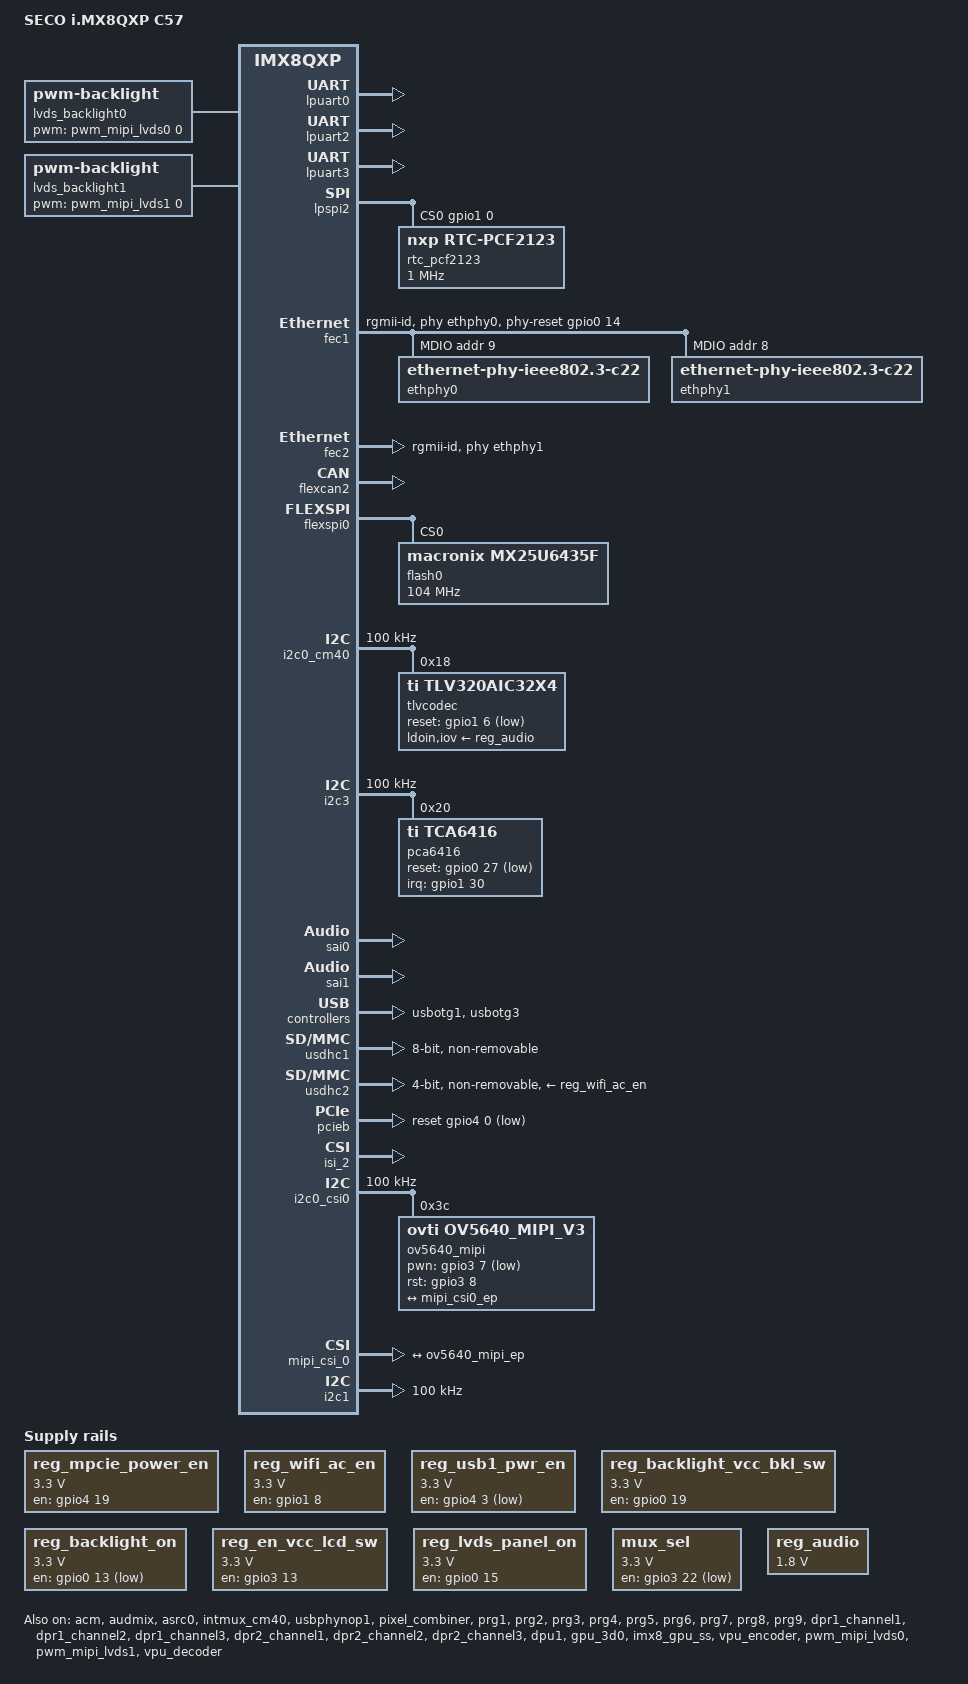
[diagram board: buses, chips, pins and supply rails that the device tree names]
/*
 * Copyright 2017-2018 NXP
 *
 * This program is free software; you can redistribute it and/or
 * modify it under the terms of the GNU General Public License
 * as published by the Free Software Foundation; either version 2
 * of the License, or (at your option) any later version.
 *
 * This program is distributed in the hope that it will be useful,
 * but WITHOUT ANY WARRANTY; without even the implied warranty of
 * MERCHANTABILITY or FITNESS FOR A PARTICULAR PURPOSE.  See the
 * GNU General Public License for more details.
 */

/dts-v1/;

#include <dt-bindings/usb/pd.h>
#include "dt-bindings/net/ti-dp83867.h"
#include "seco-imx8dx.dtsi"

/ {
	model = "SECO i.MX8QXP C57";
	compatible = "fsl,imx8qxp-mek","seco,imx8qxp-c57","fsl,imx8qxp";

	chosen {
		bootargs = "console=ttyLP2,115200 earlycon=lpuart32,0x5a080000,115200";
		stdout-path = &lpuart2;
	};

	aliases {
		csi0 = &mipi_csi_0;
		dpu0 = &dpu1;
		ethernet0 = &fec1;
		ethernet1 = &fec2;
		dsi_phy0 = &mipi_dsi_phy1;
		dsi_phy1 = &mipi_dsi_phy2;
		mipi_dsi0 = &mipi_dsi1;
		mipi_dsi1 = &mipi_dsi2;
		ldb0 = &ldb1;
		ldb1 = &ldb2;
		isi0 = &isi_0;
		isi1 = &isi_1;
		isi2 = &isi_2;
		isi3 = &isi_3;
		isi4 = &isi_4;
		isi5 = &isi_5;
		isi6 = &isi_6;
		isi7 = &isi_7;
		serial0 = &lpuart0;
		serial1 = &lpuart1;
		serial2 = &lpuart2;
		serial3 = &lpuart3;
		mmc0 = &usdhc1;
		mmc1 = &usdhc2;
		mmc2 = &usdhc3;
		can0 = &flexcan1;
		can1 = &flexcan2;
		can2 = &flexcan3;
		i2c1 = &i2c1;
		i2c3 = &i2c3;
		i2c4 = &i2c0_cm40;
		i2c5 = &i2c0_mipi_lvds0;
		i2c6 = &i2c0_mipi_lvds1;
	};


	cpus {
		A35_2: cpu@2 {
			device_type = "cpu";
			compatible = "arm,cortex-a35";
			reg = <0x0 0x2>;
			enable-method = "psci";
			next-level-cache = <&A35_L2>;
		};

		A35_3: cpu@3 {
			device_type = "cpu";
			compatible = "arm,cortex-a35";
			reg = <0x0 0x3>;
			enable-method = "psci";
			next-level-cache = <&A35_L2>;
		};
	};

	vpu_decoder: vpu_decoder@2c000000 {
		compatible = "nxp,imx8qm-b0-vpudec", "nxp,imx8qxp-b0-vpudec";
		boot-region = <&decoder_boot>;
		rpc-region = <&decoder_rpc>;
		reg = <0x0 0x2c000000 0x0 0x1000000>;
		reg-names = "vpu_regs";
		clocks = <&clk IMX8QXP_VPU_DEC_CLK>;
		clock-names = "vpu_clk";
		assigned-clocks = <&clk IMX8QXP_VPU_DEC_CLK>;
		power-domains = <&pd_vpu_dec>;
		status = "disabled";
	};

	pmu {
		interrupt-affinity = <&A35_0>, <&A35_1>, <&A35_2>, <&A35_3>;
	};

	mu_seco2: mu@31560000 {
		status = "okay";
	};

	mu_seco3: mu@31570000 {
		status = "okay";
	};

	mu_seco4: mu@31580000 {
		status = "okay";
	};

	brcmfmac: brcmfmac {
		compatible = "cypress,brcmfmac";
		pinctrl-names = "init", "idle", "default";
		pinctrl-0 = <&pinctrl_wifi_init>;
		pinctrl-1 = <&pinctrl_wifi_init>;
		pinctrl-2 = <&pinctrl_wifi>;
	};

	regulators {
		compatible = "simple-bus";
		#address-cells = <1>;
		#size-cells = <0>;

		/*cn15 connector*/
		reg_en_bckl1_drv: en_bckl_drv {
						status = "disabled";
                        compatible = "regulator-fixed";
                        regulator-name = "EN_BCKL_DRV";
                        regulator-min-microvolt = <3300000>;
						regulator-max-microvolt = <3300000>;
                        gpio = <&gpio3 1 GPIO_ACTIVE_HIGH>;
                        enable-active-high;
						// startup-delay-us = <40000>;\
						regulator-boot-on;
                        regulator-always-on;
                };

		reg_mpcie_power_en: mpcie_power_en {
                        compatible = "regulator-fixed";
                        regulator-name = "MPCIE_POWER_EN";
                        regulator-min-microvolt = <3300000>;
						regulator-max-microvolt = <3300000>;
                        gpio = <&gpio4 19 GPIO_ACTIVE_HIGH>;
                        enable-active-high;
						// startup-delay-us = <40000>;\
						regulator-boot-on;
                        regulator-always-on;
                };

		reg_wifi_ac_en: reg_wifiacen {
                        compatible = "regulator-fixed";
                        regulator-name = "WIFI_AC_EN";
                        regulator-min-microvolt = <3300000>;
						regulator-max-microvolt = <3300000>;
                        gpio = <&gpio1 8 GPIO_ACTIVE_HIGH>;
                        enable-active-high;
						startup-delay-us = <1000>;
                };


		reg_usb1_pwr_en: usb1_pwr_en {
                        compatible = "regulator-fixed";
                        regulator-name = "usb1_pwr_en";
                        regulator-min-microvolt = <3300000>;
                        regulator-max-microvolt = <3300000>;
                        gpio = <&gpio4 3 GPIO_ACTIVE_LOW>;
						enable-active-down;
                        regulator-boot-on;
                        regulator-always-on;
		};


		reg_backlight_vcc_bkl_sw: backlight_vcc_bkl_sw {
                        compatible = "regulator-fixed";
                        regulator-name = "backlight_vcc_bkl_sw";
                        regulator-min-microvolt = <3300000>;
                        regulator-max-microvolt = <3300000>;
                        gpio = <&gpio0 19 GPIO_ACTIVE_HIGH>;
                        enable-active-high;
                        regulator-boot-on;
                        regulator-always-on;
                };

		
		reg_backlight_on: reg_backlight_on {
                        compatible = "regulator-fixed";
                        regulator-name = "BACKLIGHT_ON";
                        regulator-min-microvolt = <3300000>;
                        regulator-max-microvolt = <3300000>;
                        gpio = <&gpio0 13 GPIO_ACTIVE_LOW>;
                        enable-active-low;
                        regulator-boot-on;
                        regulator-always-on;
                };
		
		reg_en_vcc_lcd_sw: reg_en_vcc_lcd_sw {
                        compatible = "regulator-fixed";
                        regulator-name = "EN_VCC_LCD_SW";
                        regulator-min-microvolt = <3300000>;
                        regulator-max-microvolt = <3300000>;
                        gpio = <&gpio3 13 GPIO_ACTIVE_HIGH>;
                        enable-active-high;
                        regulator-boot-on;
                        regulator-always-on;
                };

		reg_lvds_panel_on: lvds_panel_on {
                        compatible = "regulator-fixed";
                        regulator-name = "LVDS_PANEL_ON";
                        regulator-min-microvolt = <3300000>;
                        regulator-max-microvolt = <3300000>;
                        gpio = <&gpio0 15 GPIO_ACTIVE_LOW>;
                        enable-active-high;
                        regulator-always-on;
                };
		mux_sel: mux_sel {
                        compatible = "regulator-fixed";
                        regulator-name = "MUX_SEL";
                        regulator-min-microvolt = <3300000>;
                        regulator-max-microvolt = <3300000>;
                        gpio = <&gpio3 22 GPIO_ACTIVE_LOW>;
                        enable-active-down;
                        regulator-always-on;
                };

		reg_audio: regulator-soc-audio {
                        compatible = "regulator-fixed";
                        regulator-name = "tlv320aic32x4_supply";
                        regulator-min-microvolt = <1800000>;
                        regulator-max-microvolt = <1800000>;
                        regulator-always-on;
                };

		};

	sound {
		status = "okay";
		compatible = "seco,asoc-tlv320";
		model = "seco_tlv320";
		cpu-dai = <&sai1>;
		audio-codec = <&tlvcodec>;
		enable-mic-bias;	
	};


	lvds_backlight0 {
		compatible = "pwm-backlight";
		pwms = <&pwm_mipi_lvds0 0 100000 0>;

		brightness-levels = < 0  1  2  3  4  5  6  7  8  9
				     10 11 12 13 14 15 16 17 18 19
				     20 21 22 23 24 25 26 27 28 29
				     30 31 32 33 34 35 36 37 38 39
				     40 41 42 43 44 45 46 47 48 49
				     50 51 52 53 54 55 56 57 58 59
				     60 61 62 63 64 65 66 67 68 69
				     70 71 72 73 74 75 76 77 78 79
				     80 81 82 83 84 85 86 87 88 89
				     90 91 92 93 94 95 96 97 98 99
				    100>;
		default-brightness-level = <5>;
	};


	lvds_backlight1 {
		compatible = "pwm-backlight";
		pwms = <&pwm_mipi_lvds1 0 100000 0>;

		brightness-levels = < 0  1  2  3  4  5  6  7  8  9
				     10 11 12 13 14 15 16 17 18 19
				     20 21 22 23 24 25 26 27 28 29
				     30 31 32 33 34 35 36 37 38 39
				     40 41 42 43 44 45 46 47 48 49
				     50 51 52 53 54 55 56 57 58 59
				     60 61 62 63 64 65 66 67 68 69
				     70 71 72 73 74 75 76 77 78 79
				     80 81 82 83 84 85 86 87 88 89
				     90 91 92 93 94 95 96 97 98 99
				    100>;
		default-brightness-level = <5>;
	};

	panel: edp_panel {
                        status = "disabled";
                        compatible = "innolux,n140hca";
                        #address-cells = <1>;
                        #size-cells = <0>;

                        port@0 {
                        reg = <0>;
                        panel_in: endpoint {
                            remote-endpoint = <&bridge_to_panel>;
                        };
                    };
                };

	lcdif_backlight: lcdif_backlight {
		compatible = "pwm-backlight";
		pwms = <&pwm_adma_lcdif 0 100000 0>;

		brightness-levels = <0 4 8 16 32 64 128 255>;
		default-brightness-level = <6>;
		status = "disabled";
	};

};

&acm {
	status = "okay";
};

&audmix {
	status = "okay";
};

&asrc0 {
	fsl,asrc-rate  = <48000>;
	status = "okay";
};

&iomuxc {
	pinctrl-names = "default";
	pinctrl-0 = <&pinctrl_hog>;

	imx8qxp-mek {
		pinctrl_hog: hoggrp {
			fsl,pins = <
				SC_P_COMP_CTL_GPIO_1V8_3V3_GPIORHB_PAD	0x000514a0

				/*BACKLIGHT on*/
				SC_P_MCLK_IN0_LSIO_GPIO0_IO19     0x00000021
				SC_P_SPI3_SCK_LSIO_GPIO0_IO13     0x00000021
				SC_P_QSPI0A_DQS_LSIO_GPIO3_IO13   0x00000021
				/*LVDS PANEL ON*/
				SC_P_SPI3_SDI_LSIO_GPIO0_IO15 	  0x00000021
				/*MUX_SEL LVDS*/
				SC_P_QSPI0B_DQS_LSIO_GPIO3_IO22	  0x00000021
				/*RST HUB*/
				SC_P_QSPI0B_SCLK_LSIO_GPIO3_IO17  0x00000021
				SC_P_USB_SS3_TC0_LSIO_GPIO4_IO03  0x00000021
				/*RST ENET GPIO0_IO14*/
				SC_P_SPI3_SDO_LSIO_GPIO0_IO14  0x00000041
				
				/*WLAN UART MUXED AS GPIO*/
				SC_P_UART1_TX_LSIO_GPIO0_IO21		0x00000021
				SC_P_UART1_RX_LSIO_GPIO0_IO22		0x00000021
				SC_P_SPI0_SCK_LSIO_GPIO1_IO04		0x00000021
				SC_P_UART1_CTS_B_LSIO_GPIO0_IO24	0x00000021

				/*EDP EN*/
				SC_P_MIPI_DSI1_GPIO0_01_LSIO_GPIO2_IO00 0x00000021

				/*MPCIE_POWER_EN*/
				SC_P_USDHC1_RESET_B_LSIO_GPIO4_IO19 	0x00000021

				/*EN_BCKL_DRV*/
				SC_P_CSI_MCLK_LSIO_GPIO3_IO01	0x00000021

				/*TRRS_PLUG_DETECT (JACK AUDIO)*/
				SC_P_SPDIF0_EXT_CLK_LSIO_GPIO0_IO12 0x00000021

				/*RS-485_DIR*/
				SC_P_USDHC1_CD_B_LSIO_GPIO4_IO22 	0x00000021

				/*QSPI0B_GPIO*/
				SC_P_QSPI0A_SS1_B_LSIO_GPIO3_IO15	0x00000021			
				SC_P_QSPI0B_DATA0_LSIO_GPIO3_IO18	0x00000021
				SC_P_QSPI0B_DATA1_LSIO_GPIO3_IO19	0x00000021
				SC_P_QSPI0B_DATA2_LSIO_GPIO3_IO20	0x00000021
				SC_P_QSPI0B_DATA3_LSIO_GPIO3_IO21	0x00000021
				SC_P_QSPI0B_SS0_B_LSIO_GPIO3_IO23	0x00000021
				SC_P_QSPI0B_SS1_B_LSIO_GPIO3_IO24	0x00000021

				/*CN25 I/O*/
				SC_P_CSI_PCLK_LSIO_GPIO3_IO00		0x00000021
				SC_P_ADC_IN4_LSIO_GPIO1_IO14		0x00000021
				SC_P_ADC_IN5_LSIO_GPIO1_IO13		0x00000021

				/*UART0 CTS/RTS*/
				SC_P_FLEXCAN0_RX_ADMA_UART0_RTS_B	0x16000020
				SC_P_FLEXCAN0_TX_ADMA_UART0_CTS_B	0x16000020
			>;
		};

		pinctrl_codec: codecgrp {
			fsl,pins = <
		               	SC_P_SPI0_SDO_LSIO_GPIO1_IO06	  0x00000021 
			>;
		};

		pinctrl_csi0_lpi2c0: csi0lpi2c0grp {
			fsl,pins = <
				SC_P_MIPI_CSI0_I2C0_SCL_MIPI_CSI0_I2C0_SCL	0xc2000020
				SC_P_MIPI_CSI0_I2C0_SDA_MIPI_CSI0_I2C0_SDA	0xc2000020
			>;
		};

		pinctrl_mipi_csi0: mipicsi0grp {
			fsl,pins = <
				SC_P_MIPI_CSI0_MCLK_OUT_MIPI_CSI0_ACM_MCLK_OUT	0xC0000041
				SC_P_MIPI_CSI0_GPIO0_00_LSIO_GPIO3_IO08			0x00000021
				SC_P_MIPI_CSI0_GPIO0_01_LSIO_GPIO3_IO07			0x00000021
			>;
		};

		pinctrl_lpuart0: lpuart0grp {
			fsl,pins = <
				SC_P_UART0_RX_ADMA_UART0_RX	0x06000020
				SC_P_UART0_TX_ADMA_UART0_TX	0x06000020
			>;
		};


		pinctrl_lpuart2: lpuart2grp {
			fsl,pins = <
				SC_P_UART2_TX_ADMA_UART2_TX	0x06000020
				SC_P_UART2_RX_ADMA_UART2_RX	0x06000020
			>;
		};

		pinctrl_lpuart3: lpuart3grp {
			fsl,pins = <
				SC_P_FLEXCAN2_TX_ADMA_UART3_TX	0x06000020
				SC_P_FLEXCAN2_RX_ADMA_UART3_RX	0x06000020
			>;
		};

		pinctrl_fec1: fec1grp {
			fsl,pins = <
				SC_P_COMP_CTL_GPIO_1V8_3V3_ENET_ENETB0_PAD	0x000014a0
				SC_P_COMP_CTL_GPIO_1V8_3V3_ENET_ENETB1_PAD	0x000014a0
				SC_P_ENET0_MDC_CONN_ENET0_MDC			0x06000020
				SC_P_ENET0_MDIO_CONN_ENET0_MDIO			0x06000020
				SC_P_ENET0_RGMII_TX_CTL_CONN_ENET0_RGMII_TX_CTL	0x00000061
				SC_P_ENET0_RGMII_TXC_CONN_ENET0_RGMII_TXC	0x00000061
				SC_P_ENET0_RGMII_TXD0_CONN_ENET0_RGMII_TXD0	0x00000061
				SC_P_ENET0_RGMII_TXD1_CONN_ENET0_RGMII_TXD1	0x00000061
				SC_P_ENET0_RGMII_TXD2_CONN_ENET0_RGMII_TXD2	0x00000061
				SC_P_ENET0_RGMII_TXD3_CONN_ENET0_RGMII_TXD3	0x00000061
				SC_P_ENET0_RGMII_RXC_CONN_ENET0_RGMII_RXC	0x00000061
				SC_P_ENET0_RGMII_RX_CTL_CONN_ENET0_RGMII_RX_CTL	0x00000061
				SC_P_ENET0_RGMII_RXD0_CONN_ENET0_RGMII_RXD0	0x00000061
				SC_P_ENET0_RGMII_RXD1_CONN_ENET0_RGMII_RXD1	0x00000061
				SC_P_ENET0_RGMII_RXD2_CONN_ENET0_RGMII_RXD2	0x00000061
				SC_P_ENET0_RGMII_RXD3_CONN_ENET0_RGMII_RXD3	0x00000061
			>;
		};

		pinctrl_fec2: fec2grp {
			fsl,pins = <
				SC_P_ESAI0_SCKR_CONN_ENET1_RGMII_TX_CTL		0x00000060
				SC_P_ESAI0_FSR_CONN_ENET1_RGMII_TXC		0x00000060
				SC_P_ESAI0_TX4_RX1_CONN_ENET1_RGMII_TXD0	0x00000060
				SC_P_ESAI0_TX5_RX0_CONN_ENET1_RGMII_TXD1	0x00000060
				SC_P_ESAI0_FST_CONN_ENET1_RGMII_TXD2		0x00000060
				SC_P_ESAI0_SCKT_CONN_ENET1_RGMII_TXD3		0x00000060
				SC_P_ESAI0_TX0_CONN_ENET1_RGMII_RXC		0x00000060
				SC_P_SPDIF0_TX_CONN_ENET1_RGMII_RX_CTL		0x00000060
				SC_P_SPDIF0_RX_CONN_ENET1_RGMII_RXD0		0x00000060
				SC_P_ESAI0_TX3_RX2_CONN_ENET1_RGMII_RXD1	0x00000060
				SC_P_ESAI0_TX2_RX3_CONN_ENET1_RGMII_RXD2	0x00000060
				SC_P_ESAI0_TX1_CONN_ENET1_RGMII_RXD3		0x00000060
			>;
		};

			pinctrl_flexcan2: flexcan2grp {
			fsl,pins = <
				SC_P_FLEXCAN1_TX_ADMA_FLEXCAN1_TX		0x21
				SC_P_FLEXCAN1_RX_ADMA_FLEXCAN1_RX		0x21
			>;
		};

		

		pinctrl_qspi0: qspi0grp {
			fsl,pins = <
				SC_P_QSPI0A_SS0_B_LSIO_QSPI0A_SS0_B	0xc6000020
				SC_P_QSPI0A_SCLK_LSIO_QSPI0A_SCLK	0xc6000020
				SC_P_QSPI0A_DATA0_LSIO_QSPI0A_DATA0	0xc6000020
				SC_P_QSPI0A_DATA1_LSIO_QSPI0A_DATA1	0xc6000020
				SC_P_QSPI0A_DATA2_LSIO_QSPI0A_DATA2	0xc6000020
				SC_P_QSPI0A_DATA3_LSIO_QSPI0A_DATA3	0xc6000020
			>;
		};

		pinctrl_cm40_i2c: cm40i2cgrp {
			fsl,pins = <
				SC_P_ADC_IN1_M40_I2C0_SDA	0x0600004c
				SC_P_ADC_IN0_M40_I2C0_SCL	0x0600004c
			>;
		};

		pinctrl_lpi2c3: lpi2cgrp {
			fsl,pins = <
				SC_P_SPI3_CS1_ADMA_I2C3_SCL	0x0600004c
				SC_P_MCLK_IN1_ADMA_I2C3_SDA	0x0600004c
			>;
		};

		pinctrl_ioexp_grp: ioexp_rst_grp {
			fsl,pins = <
				SC_P_MIPI_DSI1_I2C0_SDA_LSIO_GPIO1_IO30 0x00000021
				SC_P_SAI0_RXD_LSIO_GPIO0_IO27	0x00000021
			>;
		};

		pinctrl_pwm_mipi_lvds0: mipi_lvds0_pwm_grp {
			fsl,pins = <
				SC_P_MIPI_DSI0_GPIO0_00_MIPI_DSI0_PWM0_OUT	0x00000020
			>;
		};

		pinctrl_pwm_mipi_lvds1: mipi_lvds1_pwm_grp {
			fsl,pins = <
				SC_P_MIPI_DSI1_GPIO0_00_MIPI_DSI1_PWM0_OUT	0x00000020
			>;
		};

		pinctrl_i2c0_mipi_lvds0: mipi_lvds0_i2c0_grp {
			fsl,pins = <
				SC_P_MIPI_DSI0_I2C0_SCL_MIPI_DSI0_I2C0_SCL	0xc6000020
				SC_P_MIPI_DSI0_I2C0_SDA_MIPI_DSI0_I2C0_SDA	0xc6000020
				SC_P_MIPI_DSI0_GPIO0_01_LSIO_GPIO1_IO28		0x00000020
			>;
		};

		pinctrl_isl29023: isl29023grp {
			fsl,pins = <
				SC_P_SPI2_SDI_LSIO_GPIO1_IO02	0x00000021
			>;
		};

		pinctrl_lpi2c1: lpi1cgrp {
			fsl,pins = <
				SC_P_USB_SS3_TC1_ADMA_I2C1_SCL	0x06000021
				SC_P_USB_SS3_TC3_ADMA_I2C1_SDA	0x06000021
			>;
		};

		pinctrl_sai0: sai0_grp {
			fsl,pins = <
				/*SAI BLUETOOTH*/
				SC_P_CSI_D00_ADMA_SAI0_RXC				0xc6000040
				SC_P_SAI0_TXC_ADMA_SAI0_TXC				0xc6000040
				SC_P_CSI_D01_ADMA_SAI0_RXD				0xc6000040
				SC_P_SAI0_TXD_ADMA_SAI0_TXD				0xc6000060
				SC_P_CSI_D02_ADMA_SAI0_RXFS				0xc6000040
				SC_P_SAI0_TXFS_ADMA_SAI0_TXFS			0xc6000040
		 	>;
		};

		pinctrl_sai1: sai1grp {
			fsl,pins = <
				SC_P_SAI1_RXD_ADMA_SAI1_RXD			0x06000040
				SC_P_SAI1_RXC_ADMA_SAI1_TXC			0x06000040
				SC_P_SAI1_RXFS_ADMA_SAI1_TXFS		0x06000040
				SC_P_SPI0_CS1_ADMA_SAI1_TXD			0x06000040
				SC_P_MCLK_OUT0_ADMA_ACM_MCLK_OUT0	0x06000040		
			>;
		};

		pinctrl_usdhc1: usdhc1grp {
			fsl,pins = <
				SC_P_EMMC0_CLK_CONN_EMMC0_CLK		0x06000041
				SC_P_EMMC0_CMD_CONN_EMMC0_CMD		0x00000021
				SC_P_EMMC0_DATA0_CONN_EMMC0_DATA0	0x00000021
				SC_P_EMMC0_DATA1_CONN_EMMC0_DATA1	0x00000021
				SC_P_EMMC0_DATA2_CONN_EMMC0_DATA2	0x00000021
				SC_P_EMMC0_DATA3_CONN_EMMC0_DATA3	0x00000021
				SC_P_EMMC0_DATA4_CONN_EMMC0_DATA4	0x00000021
				SC_P_EMMC0_DATA5_CONN_EMMC0_DATA5	0x00000021
				SC_P_EMMC0_DATA6_CONN_EMMC0_DATA6	0x00000021
				SC_P_EMMC0_DATA7_CONN_EMMC0_DATA7	0x00000021
				SC_P_EMMC0_STROBE_CONN_EMMC0_STROBE	0x00000041
			>;
		};

		pinctrl_spi2: spi2grp {
			fsl,pins = <
				SC_P_SPI2_SCK_ADMA_SPI2_SCK		0x0600004c
				SC_P_SPI2_SDO_ADMA_SPI2_SDO		0x0600004c
				SC_P_SPI2_SDI_ADMA_SPI2_SDI		0x0600004c
				/*PCF2123 CS*/
				SC_P_SPI2_CS0_LSIO_GPIO1_IO00	0x00000021 
			>;
		};


		pinctrl_usdhc1_100mhz: usdhc1grp100mhz {
			fsl,pins = <
				SC_P_EMMC0_CLK_CONN_EMMC0_CLK		0x06000041
				SC_P_EMMC0_CMD_CONN_EMMC0_CMD		0x00000021
				SC_P_EMMC0_DATA0_CONN_EMMC0_DATA0	0x00000021
				SC_P_EMMC0_DATA1_CONN_EMMC0_DATA1	0x00000021
				SC_P_EMMC0_DATA2_CONN_EMMC0_DATA2	0x00000021
				SC_P_EMMC0_DATA3_CONN_EMMC0_DATA3	0x00000021
				SC_P_EMMC0_DATA4_CONN_EMMC0_DATA4	0x00000021
				SC_P_EMMC0_DATA5_CONN_EMMC0_DATA5	0x00000021
				SC_P_EMMC0_DATA6_CONN_EMMC0_DATA6	0x00000021
				SC_P_EMMC0_DATA7_CONN_EMMC0_DATA7	0x00000021
				SC_P_EMMC0_STROBE_CONN_EMMC0_STROBE	0x00000041
			>;
		};

		pinctrl_usdhc1_200mhz: usdhc1grp200mhz {
			fsl,pins = <
				SC_P_EMMC0_CLK_CONN_EMMC0_CLK		0x06000041
				SC_P_EMMC0_CMD_CONN_EMMC0_CMD		0x00000021
				SC_P_EMMC0_DATA0_CONN_EMMC0_DATA0	0x00000021
				SC_P_EMMC0_DATA1_CONN_EMMC0_DATA1	0x00000021
				SC_P_EMMC0_DATA2_CONN_EMMC0_DATA2	0x00000021
				SC_P_EMMC0_DATA3_CONN_EMMC0_DATA3	0x00000021
				SC_P_EMMC0_DATA4_CONN_EMMC0_DATA4	0x00000021
				SC_P_EMMC0_DATA5_CONN_EMMC0_DATA5	0x00000021
				SC_P_EMMC0_DATA6_CONN_EMMC0_DATA6	0x00000021
				SC_P_EMMC0_DATA7_CONN_EMMC0_DATA7	0x00000021
				SC_P_EMMC0_STROBE_CONN_EMMC0_STROBE	0x00000041
			>;
		};


		pinctrl_usdhc2: usdhc2grp {
			fsl,pins = <
				SC_P_USDHC1_CLK_CONN_USDHC1_CLK		0x06000040
				SC_P_USDHC1_CMD_CONN_USDHC1_CMD		0x00000020
				SC_P_USDHC1_DATA0_CONN_USDHC1_DATA0	0x00000020
				SC_P_USDHC1_DATA1_CONN_USDHC1_DATA1	0x00000020
				SC_P_USDHC1_DATA2_CONN_USDHC1_DATA2	0x00000020
				SC_P_USDHC1_DATA3_CONN_USDHC1_DATA3	0x00000020
			>;
		};

		pinctrl_usdhc2_100mhz: usdhc2grp100mhz {
			fsl,pins = <
				SC_P_USDHC1_CLK_CONN_USDHC1_CLK		0x06000040
				SC_P_USDHC1_CMD_CONN_USDHC1_CMD		0x00000020
				SC_P_USDHC1_DATA0_CONN_USDHC1_DATA0	0x00000020
				SC_P_USDHC1_DATA1_CONN_USDHC1_DATA1	0x00000020
				SC_P_USDHC1_DATA2_CONN_USDHC1_DATA2	0x00000020
				SC_P_USDHC1_DATA3_CONN_USDHC1_DATA3	0x00000020
			>;
		};

		pinctrl_usdhc2_200mhz: usdhc2grp200mhz {
			fsl,pins = <
				SC_P_USDHC1_CLK_CONN_USDHC1_CLK		0x06000040
				SC_P_USDHC1_CMD_CONN_USDHC1_CMD		0x00000020
				SC_P_USDHC1_DATA0_CONN_USDHC1_DATA0	0x00000020
				SC_P_USDHC1_DATA1_CONN_USDHC1_DATA1	0x00000020
				SC_P_USDHC1_DATA2_CONN_USDHC1_DATA2	0x00000020
				SC_P_USDHC1_DATA3_CONN_USDHC1_DATA3	0x00000020
			>;
		};

		pinctrl_pcieb: pcieagrp{
			fsl,pins = <
				SC_P_PCIE_CTRL0_PERST_B_LSIO_GPIO4_IO00		0x06000021
				SC_P_PCIE_CTRL0_CLKREQ_B_LSIO_GPIO4_IO01	0x06000021
				SC_P_PCIE_CTRL0_WAKE_B_LSIO_GPIO4_IO02		0x04000021
			>;
		};

		pinctrl_wifi: wifigrp{
			fsl,pins = <
				SC_P_SCU_BOOT_MODE3_SCU_DSC_RTC_CLOCK_OUTPUT_32K	0x20
			>;
		};

		pinctrl_wifi_init: wifi_initgrp{
			fsl,pins = <
				/* reserve pin init/idle_state to support multiple wlan cards */
			>;
		};

		pinctrl_wlan: wlangrp {
			fsl,pins = <
				SC_P_SPI0_CS0_LSIO_GPIO1_IO08 	  0x00000021
			>;
		};

	};
};

&pd_dma_lpuart2 {
	debug_console;
};

&lpuart0 {
	pinctrl-names = "default";
	pinctrl-0 = <&pinctrl_lpuart0>;
	uart-has-rtscts;
	status = "okay";
};


&lpuart2 {
	pinctrl-names = "default";
	pinctrl-0 = <&pinctrl_lpuart2>;
	status = "okay";
};

&lpuart3 {
	pinctrl-names = "default";
	pinctrl-0 = <&pinctrl_lpuart3>;
	status = "okay";
};

&lpspi2 {
	cs-gpios = <&gpio1 0 0>;
    pinctrl-names = "default";
    pinctrl-0 = <&pinctrl_spi2>;
    #address-cells = <1>;
    #size-cells = <0>;
    status = "okay";

        rtc_pcf2123: pcf2123@0 {
                compatible = "nxp,rtc-pcf2123";
                reg = <0>;
                #address-cells = <1>;
                #size-cells = <1>;
                spi-max-frequency = <1000000>;
                spi-cs-high;
                status = "okay";
        };


};

/*Fec shared same reset gpio*/
&fec1 {
	status = "okay";
	pinctrl-names = "default";
	pinctrl-0 = <&pinctrl_fec1>;
	phy-mode = "rgmii-id";
	phy-handle = <&ethphy0>;
	fsl,magic-packet;
	phy-reset-gpios = <&gpio0 14 GPIO_ACTIVE_HIGH>;
	phy-reset-active-high;
    phy-reset-duration = <2>;
	

	mdio {
		#address-cells = <1>;
		#size-cells = <0>;

		ethphy0: ethernet-phy@9 {
			compatible = "ethernet-phy-ieee802.3-c22";
                        reg = <9>;
                        ti,rx-internal-delay = <DP83867_RGMIIDCTL_1_75_NS>;
                        ti,tx-internal-delay = <DP83867_RGMIIDCTL_1_75_NS>;
                        ti,fifo-depth = <DP83867_PHYCR_FIFO_DEPTH_8_B_NIB>;		
						ti,leds-conf = <0xbb58>;
						ti,leds-polarity = <0x444>;

		};

		ethphy1: ethernet-phy@8 {
			compatible = "ethernet-phy-ieee802.3-c22";
                        reg = <8>;
                        ti,rx-internal-delay = <DP83867_RGMIIDCTL_1_75_NS>;
                        ti,tx-internal-delay = <DP83867_RGMIIDCTL_1_75_NS>;
                        ti,fifo-depth = <DP83867_PHYCR_FIFO_DEPTH_8_B_NIB>;		
						ti,leds-conf = <0xbb58>;
						ti,leds-polarity = <0x444>;
		};

	};
};

&fec2 {
	status = "okay";
	pinctrl-names = "default";
	pinctrl-0 = <&pinctrl_fec2>;
	phy-mode = "rgmii-id";
	phy-handle = <&ethphy1>;
	fsl,magic-packet;
};

&flexcan2 {
	pinctrl-names = "default";
	pinctrl-0 = <&pinctrl_flexcan2>;
	status = "okay";
};

&flexspi0 {
	pinctrl-names = "default";
	pinctrl-0 = <&pinctrl_qspi0>;
	status = "okay";

	    flash0{
			reg = <0>;
			#address-cells = <1>;
			#size-cells = <1>;
			compatible = "macronix,mx25u6435f";
			spi-max-frequency = <104000000>;
			spi-nor,quad-read;
		};
};

&intmux_cm40 {
	status = "okay";
};

&i2c0_cm40 {
	#address-cells = <1>;
	#size-cells = <0>;
	clock-frequency = <100000>;
	pinctrl-names = "default";
	pinctrl-0 = <&pinctrl_cm40_i2c>;
	status = "okay";

	tlvcodec: tlv320aic32x4@18 { 
		compatible = "ti,tlv320aic32x4"; 
		reg = <0x18>;
		pinctrl-names = "default";
		pinctrl-0 = <&pinctrl_codec>;
		// MCLK Actually not used, but necessary for initialization
		clocks = <&clk IMX8QXP_AUD_MCLKOUT0>;
		power-domains = <&pd_mclk_out0>;
		ldoin-supply = <&reg_audio>;
		iov-supply = <&reg_audio>;
		reset-gpios = <&gpio1 6 GPIO_ACTIVE_LOW>;
		clock-names = "mclk";
	};


};

&i2c3 {
	#address-cells = <1>;
	#size-cells = <0>;
	clock-frequency = <100000>;
	pinctrl-names = "default";
	pinctrl-0 = <&pinctrl_lpi2c3>;
	status = "okay";

	pca6416: gpio@20 {
		compatible = "ti,tca6416";
		reg = <0x20>;
		pinctrl-names = "default";
		pinctrl-0 = <&pinctrl_ioexp_grp>;
		reset-gpios = <&gpio0 27 GPIO_ACTIVE_LOW>;
		interrupt-parent = <&gpio1>;
		interrupts = <30 IRQ_TYPE_NONE>;
		gpio-controller;
		interrupt-controller;
		#interrupt-cells = <2>;
		#gpio-cells = <2>;
	};
};

&sai0{
	assigned-clocks = <&clk IMX8QXP_AUD_PLL0_DIV>,
			<&clk IMX8QXP_AUD_ACM_AUD_PLL_CLK0_DIV>,
			<&clk IMX8QXP_AUD_ACM_AUD_REC_CLK0_DIV>,
			<&clk IMX8QXP_AUD_SAI_0_MCLK>;
	assigned-clock-rates = <786432000>, <24576000>, <24576000>, <24576000>;
	pinctrl-names = "default";
	pinctrl-0 = <&pinctrl_sai0>;
	status = "okay";
};

&sai1 {
	assigned-clocks = <&clk IMX8QXP_AUD_PLL1_DIV>,
			<&clk IMX8QXP_AUD_ACM_AUD_PLL_CLK1_DIV>,
			<&clk IMX8QXP_AUD_ACM_AUD_REC_CLK1_DIV>,
			<&clk IMX8QXP_AUD_SAI_1_MCLK>;
	assigned-clock-rates = <786432000>, <24576000>, <24576000>, <24576000>;
	pinctrl-names = "default";
	pinctrl-0 = <&pinctrl_sai1>;
	status = "okay";
};

&usbotg1 {
	status = "okay";
};

&usbotg3 {
	status = "okay";
};

&usbphynop1{
	status = "okay";
};

&usbphy1 {
	fsl,tx-d-cal = <114>;
};

&usdhc1 {
	pinctrl-names = "default", "state_100mhz", "state_200mhz";
	pinctrl-0 = <&pinctrl_usdhc1>;
	pinctrl-1 = <&pinctrl_usdhc1_100mhz>;
	pinctrl-2 = <&pinctrl_usdhc1_200mhz>;
	bus-width = <8>;
	non-removable;
	status = "okay";
};

&usdhc2 {
	status = "okay";
	pinctrl-names = "default", "state_100mhz", "state_200mhz";
	pinctrl-0 = <&pinctrl_usdhc2>, <&pinctrl_wlan>;
	pinctrl-1 = <&pinctrl_usdhc2_100mhz>, <&pinctrl_wlan>;
	pinctrl-2 = <&pinctrl_usdhc2_200mhz>, <&pinctrl_wlan>;
	bus-width = <4>;
	non-removable;
	vmmc-supply = <&reg_wifi_ac_en>;
	#address-cells = <1>;
    #size-cells = <0>;


		sd8xxx-wlan {
			status="okay";
			//drvdbg  = <0x37>;
			drv_mode = <0x1>;
			cfg80211_wext = <0xf>;
			sta_name = "wlan";
			wfd_name = "p2p";
			max_vir_bss = <1>;
			cal_data_cfg = "mrvl/cal_data.conf";
			fw_name = "mrvl/sd8997_combo_v4.bin";
			reg_alpha2 = "US";
			p2p_enh = <1>;
			auto_ds=<0>;
			inact_tmo = <3000>;
			gtk_rekey_offload = <1>;
			cfg80211_drcs = <0>;
		};
};

&pcieb{
	ext_osc = <3>;
	pinctrl-names = "default";
	pinctrl-0 = <&pinctrl_pcieb>;
	clkreq-gpio = <&gpio4 1 GPIO_ACTIVE_LOW>;
	reset-gpio = <&gpio4 0 GPIO_ACTIVE_LOW>;
	status = "okay";
};

&pixel_combiner {
	status = "okay";
};

&prg1 {
	status = "okay";
};

&prg2 {
	status = "okay";
};

&prg3 {
	status = "okay";
};

&prg4 {
	status = "okay";
};

&prg5 {
	status = "okay";
};

&prg6 {
	status = "okay";
};

&prg7 {
	status = "okay";
};

&prg8 {
	status = "okay";
};

&prg9 {
	status = "okay";
};

&dpr1_channel1 {
	status = "okay";
};

&dpr1_channel2 {
	status = "okay";
};

&dpr1_channel3 {
	status = "okay";
};

&dpr2_channel1 {
	status = "okay";
};

&dpr2_channel2 {
	status = "okay";
};

&dpr2_channel3 {
	status = "okay";
};

&dpu1 {
	status = "okay";
};

&gpu_3d0 {
	status = "okay";
};

&imx8_gpu_ss {
	status = "okay";
};

&isi_0 {
	status = "disabled";
};

&isi_1 {
	status = "disabled";
};

&isi_2 {
	interface = <2 0 2>;
	status = "okay";
};

&isi_3 {
	status = "disabled";
};

&isi_4 {
	status = "disabled";
};

&isi_5 {
	status = "disabled";
};

&isi_6 {
	status = "disabled";
};

&isi_7 {
	status = "disabled";
};

&i2c0_csi0 {
	#address-cells = <1>;
	#size-cells = <0>;
	pinctrl-names = "default";
	pinctrl-0 = <&pinctrl_csi0_lpi2c0>;
	clock-frequency = <100000>;
	status = "okay";

	ov5640_mipi: ov5640_mipi@3c {
		compatible = "ovti,ov5640_mipi_v3";
		reg = <0x3c>;
		pinctrl-names = "default";
		pinctrl-0 = <&pinctrl_mipi_csi0>;
		clocks = <&clk IMX8QXP_24MHZ>;
		clock-names = "csi_mclk";
		csi_id = <0>;
		pwn-gpios = <&gpio3 7 GPIO_ACTIVE_LOW>;
		rst-gpios = <&gpio3 8 GPIO_ACTIVE_HIGH>;
		mclk = <24000000>;
		mclk_source = <0>;
		mipi_csi;
		status = "okay";
		port {
			ov5640_mipi_ep: endpoint {
				remote-endpoint = <&mipi_csi0_ep>;
			};
		};
	};
};

&mipi_csi_0 {
	#address-cells = <1>;
	#size-cells = <0>;
	status = "okay";
	/delete-property/virtual-channel;

	/* Camera 0  MIPI CSI-2 (CSIS0) */
	port@0 {
		reg = <0>;
		mipi_csi0_ep: endpoint {
			remote-endpoint = <&ov5640_mipi_ep>;
			data-lanes = <1 2>;
		};
	};
};


&i2c1{
	#address-cells = <1>;
	#size-cells = <0>;
	pinctrl-names = "default";
	pinctrl-0 = <&pinctrl_lpi2c1>;
	clock-frequency = <100000>;
	status = "okay";
};

&vpu {
	status = "disabled";
};

&vpu_decoder {
	core_type = <1>;
	status = "okay";
};

&vpu_encoder {
	status = "okay";
};


/* DSI/LVDS port 0 */
&i2c0_mipi_lvds0 {
	#address-cells = <1>;
	#size-cells = <0>;
	pinctrl-names = "default";
	pinctrl-0 = <&pinctrl_i2c0_mipi_lvds0>;
	clock-frequency = <100000>;
	status = "disabled";

    edp_bridge: sn65dsi86@2c {
            status = "disable";
            compatible = "ti,sn65dsi86";
			adi,dsi-lanes = <4>;
	        #address-cells = <1>;
	        #size-cells = <0>;
            reg = <0x2c>;
			pd-gpios = <&gpio2 0 GPIO_ACTIVE_HIGH>, <&gpio3 22 GPIO_ACTIVE_HIGH>;
			clocks = <&osc_27m>;
			

            port@0 {
                reg = <0>;
				bridge_to_mipi: endpoint {
                    remote-endpoint = <&mipi_dsi_bridge1_out>;
                };
            };

            port@1 {
                reg = <1>;
                bridge_to_panel: endpoint {
                    remote-endpoint = <&panel_in>;
                };
            };

	};	

};



&ldb1_phy {
	status = "disabled";
};

&ldb1 {
	status = "disabled";
	

	lvds-channel@1 {
		reg = <1>;
		status = "disabled";
		};


	lvds0: lvds-channel@0 {
		#address-cells = <1>;
		#size-cells = <0>;
		fsl,data-mapping = "jeida";
		fsl,data-width = <24>;
		status = "disabled";

		display-timings {
			native-mode = <&lvds0_timing0>;

			lvds0_timing0: 800x600 {
				clock-frequency = <65000000>;
				hactive = <800>;
				vactive = <600>;
				hback-porch = <220>;
				hsync-len = <60>;
				hfront-porch = <40>;
				vback-porch = <21>;
				vsync-len = <10>;
				vfront-porch = <7>;
				hsync-active = <0>;
				vsync-active = <0>;
				de-active = <1>;
				pixelclk-active = <1>;
			};
		};
	};
};

&mipi_dsi_phy1 {
	status = "disabled";
};

&mipi_dsi1 {
	pwr-delay = <10>;
	status = "disabled";
};

&mipi_dsi_bridge1 {
	status = "disabled";
    port@1 {
            mipi_dsi_bridge1_out: endpoint {
            remote-endpoint = <&bridge_to_mipi>;
            };
    };
};

&pwm_mipi_lvds0 {
	pinctrl-names = "default";
	pinctrl-0 = <&pinctrl_pwm_mipi_lvds0>;
	status = "okay";
};

&pwm_mipi_lvds1 {
	pinctrl-names = "default";
	pinctrl-0 = <&pinctrl_pwm_mipi_lvds1>;
	status = "okay";
};

&ldb2_phy {
	status = "disabled";
};

&ldb2 {
	status = "disabled";
};

&mipi_dsi_phy2 {
	status = "disabled";
};

&mipi_dsi2 {
	pwr-delay = <10>;
	status = "disabled";
};

&mipi_dsi_bridge2 {
	status = "disabled";
};

&tsens {
	tsens-num = <3>;
};

&thermal_zones {
	pmic-thermal0 {
		polling-delay-passive = <250>;
		polling-delay = <2000>;
		thermal-sensors = <&tsens 2>;
		trips {
			pmic_alert0: trip0 {
				temperature = <110000>;
				hysteresis = <2000>;
				type = "passive";
			};
			pmic_crit0: trip1 {
				temperature = <125000>;
				hysteresis = <2000>;
				type = "critical";
			};
		};
		cooling-maps {
			map0 {
				trip = <&pmic_alert0>;
				cooling-device =
				<&A35_0 THERMAL_NO_LIMIT THERMAL_NO_LIMIT>;
			};
		};
	};
};


